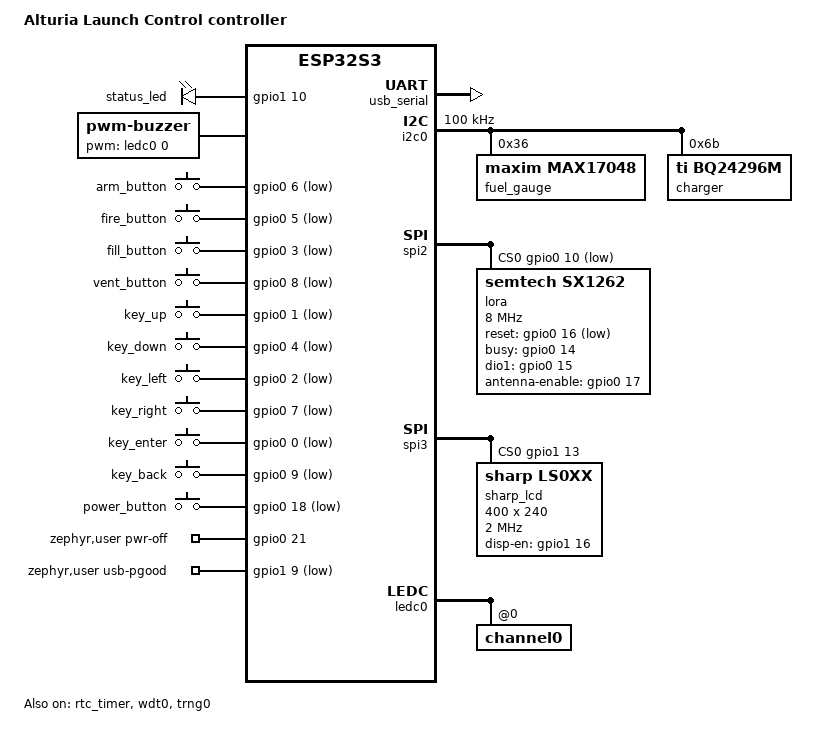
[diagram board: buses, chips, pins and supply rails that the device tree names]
/*
 * Alturia Launch Control controller, rev A
 * (hardware/controller/pcb, ESP32-S3-WROOM-1-N16R2).
 *
 * Console and shell are on USB-C, which goes straight to the ESP32-S3's
 * USB Serial/JTAG. UART0's pins drive the LCD, so there is no UART.
 *
 * The controls are pushbuttons to GND with no external pull-ups. The front
 * panel has no arm key switch.
 */
/dts-v1/;

#include <espressif/esp32s3/esp32s3.dtsi>
#include <zephyr/dt-bindings/input/input-event-codes.h>
#include <zephyr/dt-bindings/lora/sx126x.h>
#include <zephyr/dt-bindings/pwm/pwm.h>
#include <espressif/partitions_0x0_amp_16M.dtsi>
#include "alturia_controller-pinctrl.dtsi"

/ {
	model = "Alturia Launch Control controller";
	compatible = "alturia,controller";

	aliases {
		led0 = &status_led;
		lora0 = &lora;
		buzzer = &buzzer;
		watchdog0 = &wdt0;
		fuel-gauge0 = &fuel_gauge;
		charger0 = &charger;
	};

	chosen {
		zephyr,sram = &sram1;
		zephyr,console = &usb_serial;
		zephyr,shell-uart = &usb_serial;
		zephyr,flash = &flash0;
		zephyr,code-partition = &slot0_partition;
		zephyr,display = &sharp_lcd;
	};

	leds {
		compatible = "gpio-leds";

		status_led: status_led {
			gpios = <&gpio1 10 GPIO_ACTIVE_HIGH>;	/* IO42, STATUS_LED */
		};
	};

	/* Passive magnetic buzzer QMB-09B-03; it needs a tone, not a level. */
	buzzer: buzzer {
		compatible = "pwm-buzzer";
		pwms = <&ledc0 0 PWM_HZ(4000) PWM_POLARITY_NORMAL>;	/* IO46 */
	};

	/* Key codes are the ones the controller_ui app listens for. */
	ctrl_keys: ctrl_keys {
		compatible = "gpio-keys";
		debounce-interval-ms = <20>;

		/* Delock 22032 pushbuttons on J3 / J2 */
		arm_button {
			gpios = <&gpio0 6 (GPIO_PULL_UP | GPIO_ACTIVE_LOW)>;	/* KEY_ARM */
			zephyr,code = <INPUT_KEY_A>;
		};

		fire_button {
			gpios = <&gpio0 5 (GPIO_PULL_UP | GPIO_ACTIVE_LOW)>;	/* KEY_FIRE */
			zephyr,code = <INPUT_KEY_SPACE>;
		};

		fill_button {
			gpios = <&gpio0 3 (GPIO_PULL_UP | GPIO_ACTIVE_LOW)>;	/* KEY_FILL */
			zephyr,code = <INPUT_KEY_F>;
		};

		vent_button {
			gpios = <&gpio0 8 (GPIO_PULL_UP | GPIO_ACTIVE_LOW)>;	/* KEY_VENT */
			zephyr,code = <INPUT_KEY_V>;
		};

		/* D-pad SW1..SW6 */
		key_up {
			gpios = <&gpio0 1 (GPIO_PULL_UP | GPIO_ACTIVE_LOW)>;	/* KEY_UP */
			zephyr,code = <INPUT_KEY_UP>;
		};

		key_down {
			gpios = <&gpio0 4 (GPIO_PULL_UP | GPIO_ACTIVE_LOW)>;	/* KEY_DOWN */
			zephyr,code = <INPUT_KEY_DOWN>;
		};

		key_left {
			gpios = <&gpio0 2 (GPIO_PULL_UP | GPIO_ACTIVE_LOW)>;	/* KEY_LEFT */
			zephyr,code = <INPUT_KEY_LEFT>;
		};

		key_right {
			gpios = <&gpio0 7 (GPIO_PULL_UP | GPIO_ACTIVE_LOW)>;	/* KEY_RIGHT */
			zephyr,code = <INPUT_KEY_RIGHT>;
		};

		key_enter {
			gpios = <&gpio0 0 (GPIO_PULL_UP | GPIO_ACTIVE_LOW)>;	/* KEY_ENTER, BOOT strap */
			zephyr,code = <INPUT_KEY_ENTER>;
		};

		key_back {
			gpios = <&gpio0 9 (GPIO_PULL_UP | GPIO_ACTIVE_LOW)>;	/* KEY_BACK */
			zephyr,code = <INPUT_KEY_BACK>;
		};

		/* SW101 through Q105, 100k pull-up on board. Held for 6-9 s, the
		 * latch switches off by itself. A press held since power-on is
		 * not reported: gpio-keys only reports changes.
		 */
		power_button {
			gpios = <&gpio0 18 GPIO_ACTIVE_LOW>;	/* PWR_BTN */
			zephyr,code = <INPUT_KEY_POWER>;
		};
	};

	zephyr,user {
		/* Soft power latch (power_latch sheet): PWR_OFF high drops the
		 * 3V3_EN latch, unless the power button holds it.
		 */
		pwr-off-gpios = <&gpio0 21 GPIO_ACTIVE_HIGH>;
		/* BQ24296M PG: low while USB power is good */
		usb-pgood-gpios = <&gpio1 9 GPIO_ACTIVE_LOW>;	/* IO41 */
	};
};

/* 160 MHz instead of 240: the UI and the link need far less, and the CPU
 * mostly sleeps, so it is the awake current that counts.
 */
&cpu0 {
	clock-frequency = <ESP32_CLK_CPU_PLL_160M>;
};

/* Wakes light sleep (CONFIG_PM) for the kernel's next timeout */
&rtc_timer {
	status = "okay";
	wakeup-source;
};

&flash0 {
	reg = <0x0 DT_SIZE_M(16)>;
	ranges = <0x0 0x0 DT_SIZE_M(16)>;
};

&usb_serial {
	status = "okay";
};

&gpio0 {
	status = "okay";
	gpio-line-names = "KEY_ENTER", "KEY_UP", "KEY_LEFT", "KEY_FILL",
			  "KEY_DOWN", "KEY_FIRE", "KEY_ARM", "KEY_RIGHT",
			  "KEY_VENT", "KEY_BACK", "LORA_NSS", "SPI_MOSI",
			  "SPI_SCK", "SPI_MISO", "LORA_BUSY", "LORA_DIO1",
			  "LORA_RST", "LORA_RF_SW", "PWR_BTN", "USB_DN",
			  "USB_DP", "PWR_OFF";
};

&gpio1 {
	status = "okay";
	gpio-line-names = "", "", "", "", "", "",
			  "I2C_SDA", "I2C_SCL", "GAUGE_ALRT", "USB_PGOOD",
			  "STATUS_LED", "LCD_SCK", "LCD_MOSI", "LCD_CS",
			  "BUZZER", "", "LCD_DISP";
};

&i2c0 {
	status = "okay";
	clock-frequency = <I2C_BITRATE_STANDARD>;
	pinctrl-0 = <&i2c0_default>;
	pinctrl-names = "default";

	fuel_gauge: max17048@36 {
		compatible = "maxim,max17048";
		reg = <0x36>;
	};

	/* Programmed by the driver at boot (CONFIG_CHARGER): 0.25 C for the
	 * 4 Ah 606090 cell, and no I2C watchdog, so the charger stays in host
	 * mode and keeps its input limit.
	 */
	charger: bq24296m@6b {
		compatible = "ti,bq24296m";
		reg = <0x6b>;
		constant-charge-current-max-microamp = <1024000>;
		constant-charge-voltage-max-microvolt = <4208000>;
		watchdog-timeout-ms = <0>;
	};
};

/* Wio-SX1262. DIO2 selects TX inside the module, RF_SW powers the switch,
 * which the native driver drives as antenna-enable.
 */
&spi2 {
	#address-cells = <1>;
	#size-cells = <0>;
	status = "okay";
	pinctrl-0 = <&spim2_default>;
	pinctrl-names = "default";
	cs-gpios = <&gpio0 10 GPIO_ACTIVE_LOW>;	/* LORA_NSS, 10k pull-up */

	lora: sx1262@0 {
		compatible = "semtech,sx1262";
		reg = <0>;
		spi-max-frequency = <DT_FREQ_M(8)>;
		reset-gpios = <&gpio0 16 GPIO_ACTIVE_LOW>;	/* LORA_RST */
		busy-gpios = <&gpio0 14 GPIO_ACTIVE_HIGH>;	/* LORA_BUSY */
		dio1-gpios = <&gpio0 15 GPIO_ACTIVE_HIGH>;	/* LORA_DIO1 */
		antenna-enable-gpios = <&gpio0 17 GPIO_ACTIVE_HIGH>;	/* LORA_RF_SW */
		dio2-tx-enable;
		dio3-tcxo-voltage = <SX126X_DIO3_TCXO_1V8>;
		tcxo-power-startup-delay-ms = <5>;
	};
};

/* Adafruit 4694 (LS027B7DH01, 400x240). EXTCOMIN and EXTMODE are open, so
 * VCOM is inverted over SPI. CS has a 10k pull-down.
 */
&spi3 {
	#address-cells = <1>;
	#size-cells = <0>;
	status = "okay";
	pinctrl-0 = <&spim3_default>;
	pinctrl-names = "default";
	cs-gpios = <&gpio1 13 GPIO_ACTIVE_HIGH>;	/* IO45, LCD_CS */

	sharp_lcd: ls0xx@0 {
		compatible = "sharp,ls0xx";
		reg = <0>;
		spi-max-frequency = <DT_FREQ_M(2)>;
		width = <400>;
		height = <240>;
		disp-en-gpios = <&gpio1 16 GPIO_ACTIVE_HIGH>;	/* IO48, LCD_DISP */
		serial-vcom-inversion;
	};
};

&ledc0 {
	status = "okay";
	pinctrl-0 = <&ledc0_default>;
	pinctrl-names = "default";
	#address-cells = <1>;
	#size-cells = <0>;

	channel0@0 {
		reg = <0x0>;
		timer = <0>;
	};
};

&wdt0 {
	status = "okay";
};

&trng0 {
	status = "okay";
};

&timer0 {
	status = "disabled";
};

&timer1 {
	status = "disabled";
};

&timer2 {
	status = "disabled";
};

&timer3 {
	status = "disabled";
};
